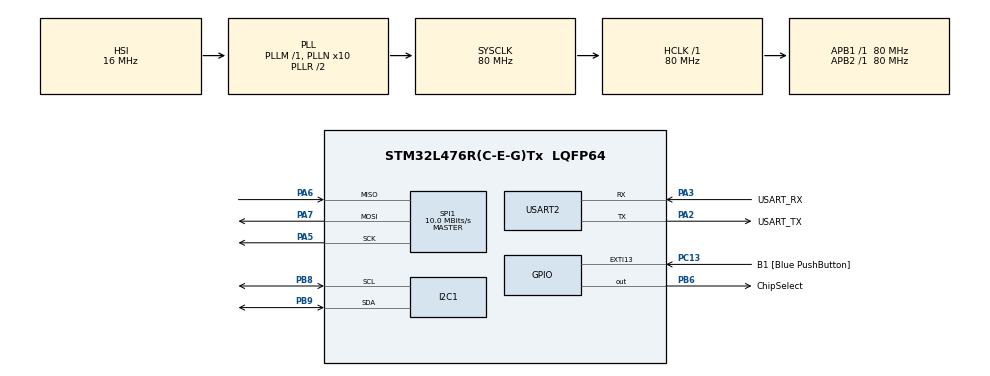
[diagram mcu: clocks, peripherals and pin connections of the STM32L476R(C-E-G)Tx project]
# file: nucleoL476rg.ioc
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I2C1.Timing=0x10909CEC
Mcu.Family=STM32L4
Mcu.Name=STM32L476R(C-E-G)Tx
Mcu.Package=LQFP64
NVIC.PriorityGroup=NVIC_PRIORITYGROUP_4
PA13\ (JTMS-SWDIO).GPIO_Label=TMS
PA13\ (JTMS-SWDIO).Mode=Serial_Wire
PA13\ (JTMS-SWDIO).Signal=SYS_JTMS-SWDIO
PA14\ (JTCK-SWCLK).GPIO_Label=TCK
PA14\ (JTCK-SWCLK).Mode=Serial_Wire
PA14\ (JTCK-SWCLK).Signal=SYS_JTCK-SWCLK
PA2.GPIO_Label=USART_TX
PA2.GPIO_Mode=GPIO_MODE_AF_PP
PA2.GPIO_PuPd=GPIO_NOPULL
PA2.GPIO_Speed=GPIO_SPEED_FREQ_VERY_HIGH
PA2.Mode=Asynchronous
PA2.Signal=USART2_TX
PA3.GPIO_Label=USART_RX
PA3.GPIO_Mode=GPIO_MODE_AF_PP
PA3.GPIO_PuPd=GPIO_NOPULL
PA3.GPIO_Speed=GPIO_SPEED_FREQ_VERY_HIGH
PA3.Mode=Asynchronous
PA3.Signal=USART2_RX
PA4.Signal=USART2_CK
PA5.Mode=Full_Duplex_Master
PA5.Signal=SPI1_SCK
PA6.Mode=Full_Duplex_Master
PA6.Signal=SPI1_MISO
PA7.Mode=Full_Duplex_Master
PA7.Signal=SPI1_MOSI
PB3\ (JTDO-TRACESWO).GPIO_Label=SWO
PB3\ (JTDO-TRACESWO).Signal=SYS_JTDO-SWO
PB6.GPIO_Label=ChipSelect
PB6.PinState=GPIO_PIN_SET
PB6.Signal=GPIO_Output
PB8.Mode=I2C
PB8.Signal=I2C1_SCL
PB9.Mode=I2C
PB9.Signal=I2C1_SDA
PC13.GPIO_Label=B1 [Blue PushButton]
PC13.GPIO_ModeDefaultEXTI=GPIO_MODE_IT_FALLING
PC13.GPIO_PuPd=GPIO_NOPULL
PC13.Signal=GPXTI13
PC14-OSC32_IN\ (PC14).Mode=LSE-External-Oscillator
PC14-OSC32_IN\ (PC14).Signal=RCC_OSC32_IN
PC15-OSC32_OUT\ (PC15).Mode=LSE-External-Oscillator
PC15-OSC32_OUT\ (PC15).Signal=RCC_OSC32_OUT
PH0-OSC_IN\ (PH0).Signal=RCC_OSC_IN
PH1-OSC_OUT\ (PH1).Signal=RCC_OSC_OUT
ProjectManager.HeapSize=0x200
ProjectManager.StackSize=0x400
ProjectManager.TargetToolchain=STM32CubeIDE
RCC.ADCFreq_Value=64000000
RCC.AHBFreq_Value=80000000
RCC.APB1Freq_Value=80000000
RCC.APB1TimFreq_Value=80000000
RCC.APB2Freq_Value=80000000
RCC.APB2TimFreq_Value=80000000
RCC.CortexFreq_Value=80000000
RCC.HCLKFreq_Value=80000000
RCC.HSE_VALUE=8000000
RCC.HSI_VALUE=16000000
RCC.MSI_VALUE=4000000
RCC.PLLN=10
RCC.PLLSourceVirtual=RCC_PLLSOURCE_HSI
RCC.PREFETCH_ENABLE=1
RCC.SYSCLKFreq_VALUE=80000000
RCC.SYSCLKSource=RCC_SYSCLKSOURCE_PLLCLK
RCC.USBFreq_Value=64000000
RCC.VCOOutputFreq_Value=160000000
SPI1.BaudRatePrescaler=SPI_BAUDRATEPRESCALER_8
SPI1.CLKPhase=SPI_PHASE_2EDGE
SPI1.CLKPolarity=SPI_POLARITY_HIGH
SPI1.CalculateBaudRate=10.0 MBits/s
SPI1.DataSize=SPI_DATASIZE_8BIT
SPI1.Direction=SPI_DIRECTION_2LINES
SPI1.Mode=SPI_MODE_MASTER
SPI1.VirtualType=VM_MASTER
USART2.VirtualMode-Asynchronous=VM_ASYNC
board=NUCLEO-L476RG

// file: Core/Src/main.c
/* USER CODE BEGIN Header */
/**
  ******************************************************************************
  * @file           : main.c
  * @brief          : Main program body to obtain and display the Y-Acceleration
  *   from an ICM20948 chip using SPI. (all 3 directions read)
  *   Display onto OLED display and terminal (PuTTY)
  *   The green LED is disabled and used for the SPI clock. SPI1 is used.
  *   The chip select line is on PB6.
  ******************************************************************************
  * @attention
  *
  * <h2><center>&copy; Copyright (c) 2021 STMicroelectronics.
  * All rights reserved.</center></h2>
  *
  * This software component is licensed by ST under BSD 3-Clause license,
  * the "License"; You may not use this file except in compliance with the
  * License. You may obtain a copy of the License at:
  *                        opensource.org/licenses/BSD-3-Clause
  *
  ******************************************************************************
  */
/* USER CODE END Header */
#include "main.h"

/* USER CODE BEGIN Includes */
#include <string.h>
#include <stdio.h>
#include "ssd1306.h"  // it is found in the drivers directory. Need to be added to the project properties
/* USER CODE END Includes */

/* USER CODE BEGIN PTD */
struct sensor3d {
	int16_t x;
	int16_t y;
	int16_t z;
}; // A 3D sensor has three directions as the accelerometer or the gyroscope
/* USER CODE END PTD */

/* USER CODE BEGIN PD */
			// AS2: SPI mask and register addresses are in the main.h file*****************
/* USER CODE END PD */

I2C_HandleTypeDef hi2c1;

SPI_HandleTypeDef hspi1;

UART_HandleTypeDef huart2;

void SystemClock_Config(void);
static void MX_GPIO_Init(void);
static void MX_USART2_UART_Init(void);
static void MX_SPI1_Init(void);
static void MX_I2C1_Init(void);

/* USER CODE BEGIN 0 */
struct sensor3d acceleration; // This global variable is used for the CubeMonitor to show three accelerations
/* USER CODE END 0 */

int main(void)
{
  /* USER CODE BEGIN 1 */
	char msg[40]; // Allocate an array of characters to send to Putty using UART.
	uint8_t buf[6]; // Allocate an array of unsigned integers to communicate with SPI
	float tmpVal;  // Hold the value of acceleration in G
	char retVal;  // Returned byte when writing to the OLED display
  /* USER CODE END 1 */

  /* MCU Configuration--------------------------------------------------------*/

  /* Reset of all peripherals, Initializes the Flash interface and the Systick. */
  HAL_Init();

  /* Configure the system clock */
  SystemClock_Config();

  /* Initialize all configured peripherals */
  MX_GPIO_Init();
  MX_USART2_UART_Init();
  MX_SPI1_Init();
  MX_I2C1_Init();
  /* USER CODE BEGIN 2 */

  // Set up OLED display
  ssd1306_Init();

  // Check that everything is setup OK. When the chip is asked for its identity, it should reply 0xEA
  do {
   buf[0] = readMask |ICM20648_REG_WHO_AM_I; // Prepare the instruction " read register 0x00 so you send 0x80
   HAL_GPIO_WritePin(ChipSelect_GPIO_Port, ChipSelect_Pin, GPIO_PIN_RESET); // Pull the chip select line low
   HAL_SPI_Transmit(&hspi1, buf, 1, 100); // Tell the ICM20948 what you want
   HAL_SPI_Receive(&hspi1, buf, 1, 100); // Get the answer
   HAL_GPIO_WritePin(ChipSelect_GPIO_Port, ChipSelect_Pin, GPIO_PIN_SET); // Release the slave chip by bringing the line back up
   buf[1] = 0;
   sprintf(msg, "I am 0x%02X\r\n", buf[0]);
   HAL_UART_Transmit(&huart2, (uint8_t*)msg, strlen(msg), HAL_MAX_DELAY);
  } while (buf[0] != 0xEA);

  // Turn on the sensors
  buf[0] = writeMask | ICM20648_REG_PWR_MGMT_1; // Here you want to turn on the sensors by going out of sleep mode.
  buf[1] = 0x01; // This is done by writing a 0 on bit 6 of the power management register in the ICM 20948
  HAL_GPIO_WritePin(ChipSelect_GPIO_Port, ChipSelect_Pin, GPIO_PIN_RESET);
  HAL_SPI_Transmit(&hspi1, buf, 2, 100); // Send the register address and its content (2 bytes)
  HAL_GPIO_WritePin(ChipSelect_GPIO_Port, ChipSelect_Pin, GPIO_PIN_SET);
  /* USER CODE END 2 */

  /* Infinite loop */
  /* USER CODE BEGIN WHILE */
  while (1)
  {
	  buf[0] = readMask | ICM20648_REG_ACCEL_XOUT_H_SH; // Prepare the request to read the accelerometer data in X direction
	  HAL_GPIO_WritePin(ChipSelect_GPIO_Port, ChipSelect_Pin, GPIO_PIN_RESET);
	  HAL_SPI_Transmit(&hspi1, buf, 1, 100); // Send request
	  HAL_SPI_Receive(&hspi1, buf, 6, 100); // Get the accelerations X, Y, Z high and low bytes (6 bytes)
	  HAL_GPIO_WritePin(ChipSelect_GPIO_Port, ChipSelect_Pin, GPIO_PIN_SET);
	  acceleration.x = (buf[0] << 8 | buf[1]);  // Combine the two bytes into a signed 16 bit signed integer
	  acceleration.y = (buf[2] << 8 | buf[3]);
	  acceleration.z = (buf[4] << 8 | buf[5]);
	  char *tmpSign = (acceleration.y < 0) ? "-" : "+";
	  tmpVal = acceleration.y / 16384.0;  // 2^16 for -2g to +2g => 1g = 16384  // here g is not gram but 9.8m/s^2
	  tmpVal = (acceleration.y < 0) ? -tmpVal : tmpVal;
	  int tmpInt1 = tmpVal;                  // Get the integer (678).
	  float tmpFrac = tmpVal - tmpInt1;      // Get fraction (0.0123).
	  int tmpInt2 = (tmpFrac * 1000);  // Turn into integer (123).char *tmpSign = (adc_read < 0) ? "-" : "";
	  sprintf (msg, " Y Acceleration = %s%d.%04dg\r\n", tmpSign, tmpInt1, tmpInt2);

	  // Send to UART2
	  HAL_UART_Transmit(&huart2, (uint8_t*)msg, strlen(msg), HAL_MAX_DELAY);

	  // Send to the OLED display over I2C1
	  sprintf (msg, " Y Accel = %s%d.%02dg\r\n", tmpSign, tmpInt1, tmpInt2);
	  ssd1306_SetCursor(0, 5);
	  retVal = ssd1306_WriteString(msg, Font_7x10, White);
	  ssd1306_UpdateScreen();

    /* USER CODE END WHILE */

  }
}

void SystemClock_Config(void)
{
  RCC_OscInitTypeDef RCC_OscInitStruct = {0};
  RCC_ClkInitTypeDef RCC_ClkInitStruct = {0};

  /** Configure the main internal regulator output voltage
  */
  if (HAL_PWREx_ControlVoltageScaling(PWR_REGULATOR_VOLTAGE_SCALE1) != HAL_OK)
  {
    Error_Handler();
  }

  /** Initializes the RCC Oscillators according to the specified parameters
  * in the RCC_OscInitTypeDef structure.
  */
  RCC_OscInitStruct.OscillatorType = RCC_OSCILLATORTYPE_HSI;
  RCC_OscInitStruct.HSIState = RCC_HSI_ON;
  RCC_OscInitStruct.HSICalibrationValue = RCC_HSICALIBRATION_DEFAULT;
  RCC_OscInitStruct.PLL.PLLState = RCC_PLL_ON;
  RCC_OscInitStruct.PLL.PLLSource = RCC_PLLSOURCE_HSI;
  RCC_OscInitStruct.PLL.PLLM = 1;
  RCC_OscInitStruct.PLL.PLLN = 10;
  RCC_OscInitStruct.PLL.PLLP = RCC_PLLP_DIV7;
  RCC_OscInitStruct.PLL.PLLQ = RCC_PLLQ_DIV2;
  RCC_OscInitStruct.PLL.PLLR = RCC_PLLR_DIV2;
  if (HAL_RCC_OscConfig(&RCC_OscInitStruct) != HAL_OK)
  {
    Error_Handler();
  }

  /** Initializes the CPU, AHB and APB buses clocks
  */
  RCC_ClkInitStruct.ClockType = RCC_CLOCKTYPE_HCLK|RCC_CLOCKTYPE_SYSCLK
                              |RCC_CLOCKTYPE_PCLK1|RCC_CLOCKTYPE_PCLK2;
  RCC_ClkInitStruct.SYSCLKSource = RCC_SYSCLKSOURCE_PLLCLK;
  RCC_ClkInitStruct.AHBCLKDivider = RCC_SYSCLK_DIV1;
  RCC_ClkInitStruct.APB1CLKDivider = RCC_HCLK_DIV1;
  RCC_ClkInitStruct.APB2CLKDivider = RCC_HCLK_DIV1;

  if (HAL_RCC_ClockConfig(&RCC_ClkInitStruct, FLASH_LATENCY_4) != HAL_OK)
  {
    Error_Handler();
  }
}

static void MX_I2C1_Init(void)
{

  hi2c1.Instance = I2C1;
  hi2c1.Init.Timing = 0x10909CEC;
  hi2c1.Init.OwnAddress1 = 0;
  hi2c1.Init.AddressingMode = I2C_ADDRESSINGMODE_7BIT;
  hi2c1.Init.DualAddressMode = I2C_DUALADDRESS_DISABLE;
  hi2c1.Init.OwnAddress2 = 0;
  hi2c1.Init.OwnAddress2Masks = I2C_OA2_NOMASK;
  hi2c1.Init.GeneralCallMode = I2C_GENERALCALL_DISABLE;
  hi2c1.Init.NoStretchMode = I2C_NOSTRETCH_DISABLE;
  if (HAL_I2C_Init(&hi2c1) != HAL_OK)
  {
    Error_Handler();
  }

  /** Configure Analogue filter
  */
  if (HAL_I2CEx_ConfigAnalogFilter(&hi2c1, I2C_ANALOGFILTER_ENABLE) != HAL_OK)
  {
    Error_Handler();
  }

  /** Configure Digital filter
  */
  if (HAL_I2CEx_ConfigDigitalFilter(&hi2c1, 0) != HAL_OK)
  {
    Error_Handler();
  }

}

static void MX_SPI1_Init(void)
{

  /* SPI1 parameter configuration*/
  hspi1.Instance = SPI1;
  hspi1.Init.Mode = SPI_MODE_MASTER;
  hspi1.Init.Direction = SPI_DIRECTION_2LINES;
  hspi1.Init.DataSize = SPI_DATASIZE_8BIT;
  hspi1.Init.CLKPolarity = SPI_POLARITY_HIGH;
  hspi1.Init.CLKPhase = SPI_PHASE_2EDGE;
  hspi1.Init.NSS = SPI_NSS_SOFT;
  hspi1.Init.BaudRatePrescaler = SPI_BAUDRATEPRESCALER_8;
  hspi1.Init.FirstBit = SPI_FIRSTBIT_MSB;
  hspi1.Init.TIMode = SPI_TIMODE_DISABLE;
  hspi1.Init.CRCCalculation = SPI_CRCCALCULATION_DISABLE;
  hspi1.Init.CRCPolynomial = 7;
  hspi1.Init.CRCLength = SPI_CRC_LENGTH_DATASIZE;
  hspi1.Init.NSSPMode = SPI_NSS_PULSE_DISABLE;
  if (HAL_SPI_Init(&hspi1) != HAL_OK)
  {
    Error_Handler();
  }

}

static void MX_USART2_UART_Init(void)
{

  huart2.Instance = USART2;
  huart2.Init.BaudRate = 115200;
  huart2.Init.WordLength = UART_WORDLENGTH_8B;
  huart2.Init.StopBits = UART_STOPBITS_1;
  huart2.Init.Parity = UART_PARITY_NONE;
  huart2.Init.Mode = UART_MODE_TX_RX;
  huart2.Init.HwFlowCtl = UART_HWCONTROL_NONE;
  huart2.Init.OverSampling = UART_OVERSAMPLING_16;
  huart2.Init.OneBitSampling = UART_ONE_BIT_SAMPLE_DISABLE;
  huart2.AdvancedInit.AdvFeatureInit = UART_ADVFEATURE_NO_INIT;
  if (HAL_UART_Init(&huart2) != HAL_OK)
  {
    Error_Handler();
  }

}

static void MX_GPIO_Init(void)
{
  GPIO_InitTypeDef GPIO_InitStruct = {0};

  /* GPIO Ports Clock Enable */
  __HAL_RCC_GPIOC_CLK_ENABLE();
  __HAL_RCC_GPIOH_CLK_ENABLE();
  __HAL_RCC_GPIOA_CLK_ENABLE();
  __HAL_RCC_GPIOB_CLK_ENABLE();

  /*Configure GPIO pin Output Level */
  HAL_GPIO_WritePin(ChipSelect_GPIO_Port, ChipSelect_Pin, GPIO_PIN_SET);

  /*Configure GPIO pin : B1_Pin */
  GPIO_InitStruct.Pin = B1_Pin;
  GPIO_InitStruct.Mode = GPIO_MODE_IT_FALLING;
  GPIO_InitStruct.Pull = GPIO_NOPULL;
  HAL_GPIO_Init(B1_GPIO_Port, &GPIO_InitStruct);

  /*Configure GPIO pin : ChipSelect_Pin */
  GPIO_InitStruct.Pin = ChipSelect_Pin;
  GPIO_InitStruct.Mode = GPIO_MODE_OUTPUT_PP;
  GPIO_InitStruct.Pull = GPIO_NOPULL;
  GPIO_InitStruct.Speed = GPIO_SPEED_FREQ_LOW;
  HAL_GPIO_Init(ChipSelect_GPIO_Port, &GPIO_InitStruct);

}

void Error_Handler(void)
{
  __disable_irq();
  while (1)
  {
  }
}
